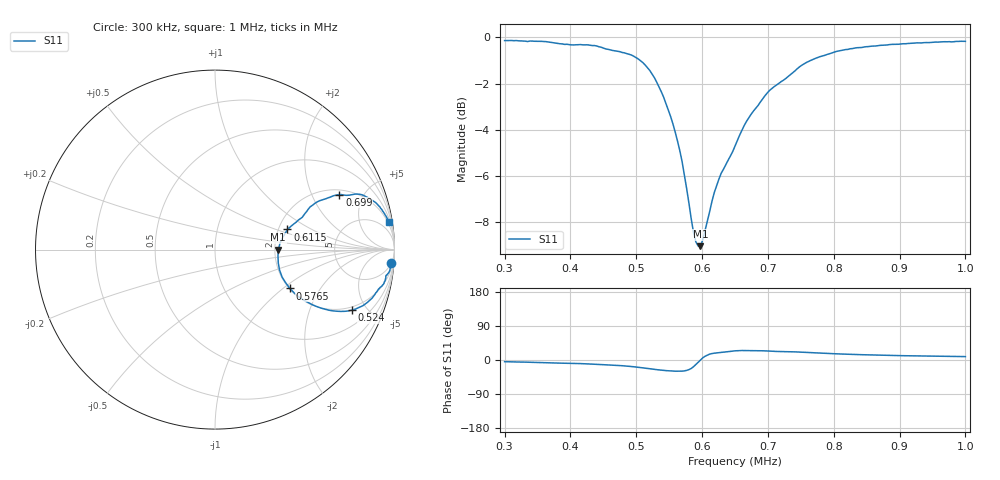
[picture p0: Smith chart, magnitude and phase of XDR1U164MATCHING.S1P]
!Agilent Technologies,E5071C,MY46100305,A.07.02
!Date: Fri Jan 01 00:32:38 1988
!Data & Calibration Information:
!Freq	S11:SOLT1(ON)
# Hz S MA R 50
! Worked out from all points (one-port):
!   201 points, 300 kHz to 1 MHz, reference 50 ohm
!   lowest |S11| = -9.1 dB at 597.5 kHz (marker M1), VSWR 2.09, Z = 104 - j0.133 ohm
!   |S11| at or under -10 dB: nowhere
!   S11 on the Smith chart (normalised r, x): 300 kHz: 5, -25; 524 kHz: 1.79, -3.95; 576.5 kHz: 2.02, -1.12; 611.5 kHz: 2.24, +0.61; 699 kHz: 2.26, +3.26; 1 MHz: 2, +13
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300000  0.9844 -4.4
352500  0.9815 -6.6
387500  0.9682 -8.4
412000  0.9641 -9.2
436500  0.9602 -11.2
475000  0.9314 -14.7
492500  0.9161 -17.2
503000  0.8981 -19.2
524000  0.8328 -23.9
545000  0.7197 -28.0
562500  0.5974 -29.6
569500  0.5393 -29.4
576500  0.4707 -27.4
587000  0.3776 -17.7
590500  0.3605 -12.0
597500  0.3527 -0.1
604500  0.3812 9.8
611500  0.4192 15.5
618500  0.4609 18.0
629000  0.5076 20.0
650000  0.5813 24.2
664000  0.6442 25.0
699000  0.7578 23.9
737500  0.838 21.6
772500  0.9011 18.7
825000  0.9449 15.0
912500  0.9701 11.2
1000000  0.9807 9.0
